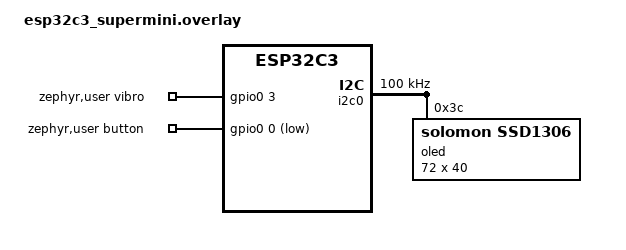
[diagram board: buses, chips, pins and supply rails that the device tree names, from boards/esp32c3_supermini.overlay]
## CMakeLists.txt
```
# SPDX-License-Identifier: Apache-2.0

cmake_minimum_required(VERSION 3.20.0)
find_package(Zephyr REQUIRED HINTS $ENV{ZEPHYR_BASE})
project(love-pager)

target_sources(app PRIVATE src/main.cpp)
```

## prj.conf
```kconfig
CONFIG_CONSOLE=y

CONFIG_GPIO=y
CONFIG_CPP=y
CONFIG_STD_CPP20=y
# CONFIG_GLIBCXX_LIBCPP=y

CONFIG_I2C=y

CONFIG_DISPLAY=y
CONFIG_CHARACTER_FRAMEBUFFER=y

CONFIG_LOG=y
```

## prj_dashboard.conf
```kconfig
# Kconfig fragment generated by Zephyr IDE
# Contains only settings changed in this session.
CONFIG_CPP=y
CONFIG_STD_CPP17=y
```

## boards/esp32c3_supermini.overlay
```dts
#include <zephyr/dt-bindings/gpio/gpio.h>
#include <zephyr/dt-bindings/i2c/i2c.h>
#include <zephyr/dt-bindings/pinctrl/esp32c3-pinctrl.h>

/ {
    chosen {
	zephyr,display = &oled;
    };

    zephyr,user {
        vibro-gpios = <&gpio0 3 GPIO_ACTIVE_HIGH>;
        button-gpios = <&gpio0 0 (GPIO_PULL_UP | GPIO_ACTIVE_LOW)>;
    };
};

&pinctrl {
    i2c0_oled: i2c0_oled {
        group1 {
            pinmux = <I2C0_SDA_GPIO5>,
                     <I2C0_SCL_GPIO6>;

            bias-pull-up;
            drive-open-drain;
            output-high;
        };
    };
};

&i2c0 {
    status = "okay";
    clock-frequency = <I2C_BITRATE_STANDARD>;

    pinctrl-0 = <&i2c0_oled>;
    pinctrl-names = "default";

    #address-cells = <1>;
    #size-cells = <0>;

    oled: ssd1306@3c {
        compatible = "solomon,ssd1306";
        reg = <0x3c>;

        width = <72>;
        height = <40>;

        segment-offset = <28>;
        page-offset = <0>;
        display-offset = <0>;

        multiplex-ratio = <39>;

        segment-remap;
        com-invdir;

        prechargep = <0x22>;

        use-internal-iref;

        status = "okay";
    };
};
```

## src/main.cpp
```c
#include <zephyr/device.h>
#include <zephyr/devicetree.h>
#include <zephyr/drivers/gpio.h>
#include <zephyr/drivers/display.h>
#include <zephyr/display/cfb.h>
#include <zephyr/kernel.h>

#define USER_NODE DT_PATH(zephyr_user)
#define LED0_NODE DT_ALIAS(led0)

static const gpio_dt_spec led = GPIO_DT_SPEC_GET(LED0_NODE, gpios);

static const device* display =
        DEVICE_DT_GET(DT_CHOSEN(zephyr_display));

static const gpio_dt_spec vibro = GPIO_DT_SPEC_GET(USER_NODE, vibro_gpios);


static const gpio_dt_spec button = GPIO_DT_SPEC_GET(USER_NODE, button_gpios);
static gpio_callback button_callback;
static k_work_delayable button_work;
void button_irq_handler(
    const device*,
    gpio_callback*,
    uint32_t
);
void button_work_handler(k_work*);

int init_led() {
    int ret = 0;
    if (!gpio_is_ready_dt(&led)) {
		return 0;
	}

	ret = gpio_pin_configure_dt(&led, GPIO_OUTPUT_ACTIVE);
	if (ret < 0) {
		return 0;
	}

    return ret;
}

int init_display() {
    // const device* display =
    //     DEVICE_DT_GET(DT_CHOSEN(zephyr_display));

        
    if (!device_is_ready(display)) {
        printk("Display is not ready\n");
        return -1;
    }


    int ret = cfb_framebuffer_init(display);
    if (ret != 0) {
        printk("CFB init failed: %d\n", ret);
        return ret;
    }

    display_blanking_off(display);

    cfb_framebuffer_clear(display, false);

    cfb_framebuffer_set_font(display, 0);

    cfb_print(display, "ESP32-C3", 0, 0);
    cfb_print(display, "Zephyr", 0, 12);

    ret = cfb_framebuffer_finalize(display);
    if (ret != 0) {
        printk("Framebuffer flush failed: %d\n", ret);
        return ret;
    }

    return 0;
}

void set_vibration(bool active) {
    gpio_pin_set_dt(&vibro, active ? 1 : 0);
}

int init_vibro() {
    if (!device_is_ready(vibro.port)) {
        printk("Vibro is not ready");
        return -1;
    }

    auto ret = gpio_pin_configure_dt(&vibro, GPIO_OUTPUT_INACTIVE);
    if (ret < 0) {
        printk("Failed configuring vibromotor pin %d\n", ret);
        return ret;
    }

    return 0;
}

int init_button()
{
    if (!gpio_is_ready_dt(&button)) {
        printk("Button GPIO is not ready\n");
        return -1;
    }

    int ret = gpio_pin_configure_dt(
        &button,
        GPIO_INPUT
    );

    if (ret < 0) {
        printk("Failed configuring button: %d\n", ret);
        return ret;
    }

    k_work_init_delayable(
        &button_work,
        button_work_handler
    );

    gpio_init_callback(
        &button_callback,
        button_irq_handler,
        BIT(button.pin)
    );

    ret = gpio_add_callback(
        button.port,
        &button_callback
    );

    if (ret < 0) {
        printk("Failed adding button callback: %d\n", ret);
        return ret;
    }

    ret = gpio_pin_interrupt_configure_dt(
        &button,
        GPIO_INT_EDGE_TO_ACTIVE
    );

    if (ret < 0) {
        printk("Failed configuring button IRQ: %d\n", ret);
        return ret;
    }

    return 0;
}

constexpr int LED_CYCLE_TIME_MS = 500;

void led_thread(void*, void*, void*) {
    while(true) {
        gpio_pin_toggle_dt(&led);
        k_msleep(LED_CYCLE_TIME_MS);
    }
}

K_THREAD_DEFINE(
    led_thread_id, 
    1024,
    led_thread,
    nullptr, 
    nullptr,
    nullptr,
    K_PRIO_PREEMPT(7),
    0,
    100
);


enum class AppEventType : uint8_t {
    ButtonPressed,
};

struct AppEvent {
    AppEventType type;
};

K_MSGQ_DEFINE(
    app_event_queue,
    sizeof(AppEvent),
    8,
    alignof(AppEvent)
);

void app_thread(void*, void*, void*) {
    AppEvent event{};

    bool vibration = false;

    while(true) {
        k_msgq_get(&app_event_queue, &event, K_FOREVER);

        switch (event.type)
        {
        case AppEventType::ButtonPressed:
            set_vibration(!vibration);
            vibration = !vibration;
            break;
        
        default:
            break;
        }
    }
}

K_THREAD_DEFINE(
    app_thread_id,
    1024,
    app_thread,
    nullptr,
    nullptr,
    nullptr,
    K_PRIO_PREEMPT(5),
    0,
    100
);


// void button_thread(void*, void*, void*) {
//     bool button_state = false;

//     int button_pin = 0;
// 	while (true) {
//         button_pin = gpio_pin_get_dt(&button);
//         if (button_pin < 0) {
//             printk("Button error: %d", button_pin);
//         } else if (button_pin == 0) {
//             button_state = false;
//         } else if (button_state == false) {
//             button_state = true;
//             printk("Button pressed");

//             AppEvent event{
//                 .type = AppEventType::ButtonPressed
//             };
//             k_msgq_put(&app_event_queue, &event, K_NO_WAIT);
//         }

//         k_msleep(100);
// 	}
// }

// K_THREAD_DEFINE(
//     button_thread_id,
//     1024,
//     button_thread,
//     nullptr,
//     nullptr,
//     nullptr,
//     K_PRIO_PREEMPT(6),
//     0,
//     100
// );



void button_irq_handler(
    const device*,
    gpio_callback*,
    uint32_t
) {
    k_work_schedule(
        &button_work,
        K_MSEC(20)
    );
}

void button_work_handler(k_work*) {
    const int pressed = gpio_pin_get_dt(&button);

    if (pressed < 0) {
        printk("Button read error: %d\n", pressed);
        return;
    }

    if (pressed == 0) {
        return;
    }

    AppEvent event{
        .type = AppEventType::ButtonPressed
    };

    const int ret = k_msgq_put(
        &app_event_queue,
        &event,
        K_NO_WAIT
    );

    if (ret != 0) {
        printk("App event queue full: %d\n", ret);
    }
}

int main()
{
    auto ret = init_display();
    if (ret != 0) {
        printk("Error when init display: %d\n", ret);
        return ret;
    }

    ret = init_led();

    ret = init_vibro();
    if (ret != 0) {
        printk("Error when init vibromotor: %d\n", ret);
        return ret;
    }

    ret = init_button();
    if (ret != 0) {
        printk("Error when init button: %d\n", ret);
        return ret;
    }

    printk("#Initialization completed!");

    return 0;
}
```

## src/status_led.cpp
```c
#include "status_led.h"

StatusLED::StatusLED(gpio_dt_spec& led) 
    : _led(led)
{}

int StatusLED::init() {
    return 0;
}

void StatusLED::setState(State newState) {
    getPattern
}
```

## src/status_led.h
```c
#pragma once

#include <zephyr/drivers/gpio.h>
#include <array>
#include <span>

class StatusLED {
public:
    enum class State : uint8_t {
        Idle = 0,
        MessageReceived,
    };

    StatusLED(gpio_dt_spec&);
    int init();
    void setState(State);
private:
    gpio_dt_spec& _led;
    State _currentState;
    k_msgq _messageQueue;

    struct BlinkPattern {
        State state;
        std::span<const uint16_t> msDelays;
    };

    static constexpr std::array<uint16_t, 2> IdlePattern = {100, 2000};
    static constexpr std::array<uint16_t, 4> MessageReceivedPattern = {100, 100, 100, 500};

    inline static constexpr std::array<BlinkPattern, 2> PATTERNS = {
        BlinkPattern{ .state = State::Idle, .msDelays = IdlePattern},
        BlinkPattern{ .state = State::MessageReceived, .msDelays = MessageReceivedPattern}
    };

    static constexpr const BlinkPattern& getPattern(State state) {
        return PATTERNS[static_cast<uint8_t>(state)];
    };
};
```
